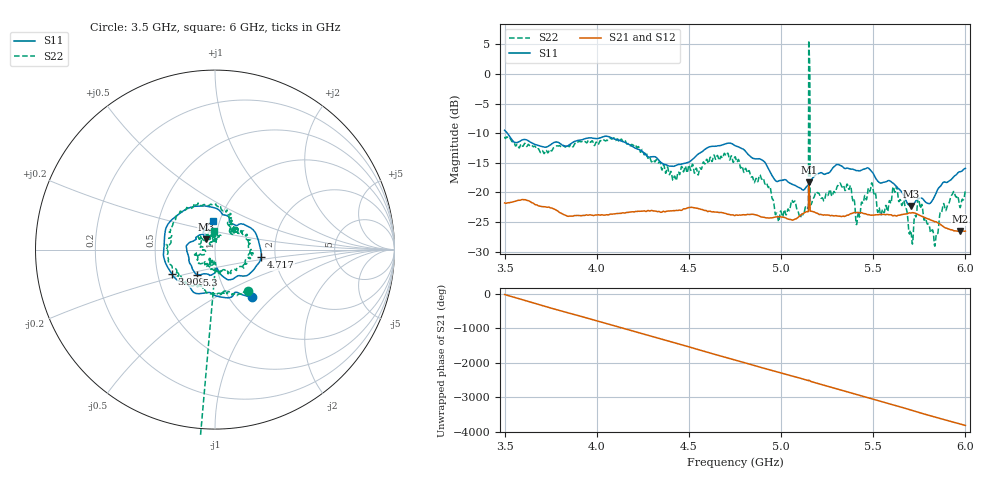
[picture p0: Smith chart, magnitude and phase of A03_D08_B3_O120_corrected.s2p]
! Created with skrf 1.9.0 (http://scikit-rf.org).
# Hz S RI R 50.0
!freq ReS11 ImS11 ReS21 ImS21 ReS12 ImS12 ReS22 ImS22
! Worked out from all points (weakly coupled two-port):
!   1601 points, 3.5 GHz to 6 GHz, reference 50 ohm
!   highest |S21| = -18.25 dB at 5.15 GHz (marker M1); lowest = -26.6 dB at 5.97 GHz (marker M2)
!   lowest |S11| = -22.3 dB at 5.706 GHz (marker M3), VSWR 1.17, Z = 44.9 + j5.25 ohm
!   |S11| at or under -10 dB: 3.515 GHz to end of sweep
!   |S22| runs from -29.1 to 5.6 dB; largest |S21 - S12| = 0.0012
!   S11 on the Smith chart (normalised r, x): 3.5 GHz: 1.28, -0.75; 3.909 GHz: 0.59, -0.17; 4.717 GHz: 1.68, -0.15; 5.3 GHz: 0.79, -0.23; 6 GHz: 0.93, +0.31
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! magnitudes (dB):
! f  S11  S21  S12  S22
! 3.5 GHz  -9.5  -21.8  -21.8  -10.6
! 3.909 GHz  -11.2  -23.9  -23.9  -11.4
! 3.917 GHz  -11.1  -23.9  -23.9  -11.4
! 4.334 GHz  -14.5  -23.2  -23.2  -15.0
! 4.717 GHz  -11.7  -23.7  -23.8  -14.1
! 4.75 GHz  -12.1  -23.9  -23.8  -14.0
! 4.981 GHz  -18.1  -24.1  -24.1  -24.1
! 5.136 GHz  -19.1  -23.3  -23.2  -22.5
! 5.144 GHz  -18.8  -23.2  -23.2  -22.6
! 5.15 GHz  -18.6  -18.3  -18.3  5.6
! 5.162 GHz  -18.0  -23.2  -23.1  -22.0
! 5.167 GHz  -17.7  -23.2  -23.2  -21.7
! 5.3 GHz  -15.3  -23.9  -23.9  -19.4
! 5.416 GHz  -16.3  -23.4  -23.4  -23.9
! 5.484 GHz  -16.2  -23.8  -23.8  -19.6
! 5.584 GHz  -18.0  -23.8  -23.7  -21.9
! 5.62 GHz  -18.8  -23.9  -24.0  -19.8
! 5.706 GHz  -22.3  -23.5  -23.4  -26.9
! 5.752 GHz  -21.0  -23.9  -23.9  -22.0
! 5.839 GHz  -20.3  -24.9  -24.9  -27.9
! 5.97 GHz  -16.5  -26.6  -26.6  -22.5
! 6 GHz  -15.9  -26.5  -26.5  -19.7
